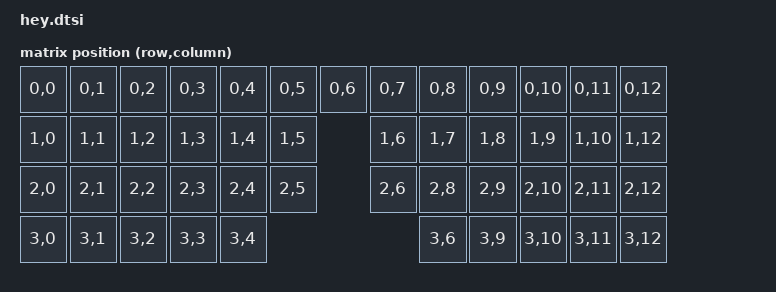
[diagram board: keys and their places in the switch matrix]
/*
 * Copyright (c) 2021 The ZMK Contributers
 *
 * SPDX-License-Identifier: MIT
 */

#include <dt-bindings/zmk/matrix_transform.h>

/ {
	chosen {
		zmk,kscan = &kscan0;
		zmk,matrix_transform = &default_transform;
	};

	default_transform: keymap_transform_0 {
		compatible = "zmk,matrix-transform";
		columns = <13>;
		rows = <4>;
    // | LA1 | LA2 | LA3 | LA4 | LA5 | LA6 | KC_NO |         | RA1 | RA2 | RA3 | RA4 | RA5 | RA6 | RA7 |
    // | LB1| LB2 | LB3 | LB4 | LB5 | LB6 | KC_NO |          | RB1 | RB2 | RB3 | RB4 | RB5 | KC_NO | RB7 |
    // | LC1 | LC2 | LC3 | LC4 | LC5 | LC6 | KC_NO|          | RC1 | KC_NO | RC3 | RC4 | RC5 | RC6 | RC7 |
    // | LD1 | LD2 | LD3 | LD4 | LD5 | KC_NO | KC_NO |       | RD1 | KC_NO | KC_NO | RD4 | RD5 | RD6 | RD7 |

    		map = <
    RC(0,0) RC(0,1) RC(0,2) RC(0,3) RC(0,4) RC(0,5)           RC(0,6) RC(0,7) RC(0,8) RC(0,9) RC(0,10) RC(0,11) RC(0,12)
    RC(1,0) RC(1,1) RC(1,2) RC(1,3) RC(1,4) RC(1,5)           RC(1,6) RC(1,7) RC(1,8) RC(1,9) RC(1,10)         RC(1,12)
    RC(2,0)  RC(2,1) RC(2,2) RC(2,3) RC(2,4) RC(2,5)          RC(2,6)         RC(2,8) RC(2,9) RC(2,10) RC(2,11) RC(2,12)
    RC(3,0)  RC(3,1) RC(3,2) RC(3,3) RC(3,4)                  RC(3,6)                 RC(3,9) RC(3,10) RC(3,11) RC(3,12)
    		>;
	};

};
